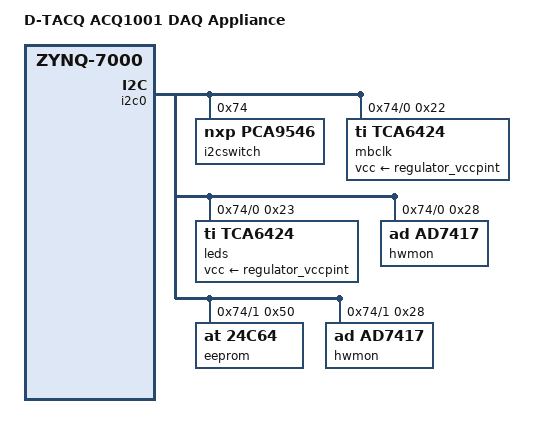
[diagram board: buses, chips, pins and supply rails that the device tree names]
// SPDX-License-Identifier: GPL-2.0+
/*
 *   Copyright (C) 2013-2019 D-TACQ Solutions Ltd - http://www.d-tacq.com/
 *
 * This program is free software; you can redistribute it and/or modify
 * it under the terms of the GNU General Public License version 2 as
 * published by the Free Software Foundation.
 */
/dts-v1/;

#include "acq400_common.dtsi"
#include "acq2006_common.dtsi"
/ {
	model = "D-TACQ ACQ1001 DAQ Appliance";
	compatible = "xlnx,zynq-zed", "xlnx,zynq-7000";

	chosen {
		bootargs = "";
		stdout-path = "serial0:115200n8";
		build="__DATE__";	
		descr="device tree for acq2006bEU WORKTODO";
		notes="i2c mux back at correct address 0x74";
		model="acq1001";
		compatible_model="acq100?";		
	};

};



&i2c0 {
	status = "okay";
	
	i2c-reset = <&gpio0 46 0>;
	i2cswitch@74 {
		compatible = "nxp,pca9546";
		#address-cells = <1>;
		#size-cells = <0>;
		reg = <0x74>;
		
		i2c@0 {
			#address-cells = <1>;
			#size-cells = <0>;
			reg = <0>;
		
			mbclk: gpio@22 {
				compatible="ti,tca6424";
				vcc-supply = <&regulator_vccpint>;				
				interrupts = <0 0>;
				reg=<0x22>;
			};	
			leds: gpio@23 {
				compatible="ti,tca6424";
				vcc-supply = <&regulator_vccpint>;
				interrupt-parent = <&intc>;
				interrupts = <0 0>;
				reg=<0x23>;
			};			
			hwmon@28 {
				compatible="ad,ad7417";
				reg=<0x28>;
			};
		};

		elf1: i2c@1 {
			#address-cells = <1>;
			#size-cells = <0>;
			reg = <0x1>;
	
			eeprom@50 {
				compatible = "at,24c64";
				reg = <0x50>;
			};
			hwmon@28 {
				compatible="ad,ad7417";
				reg=<0x28>;
			};
		};
	};
};



